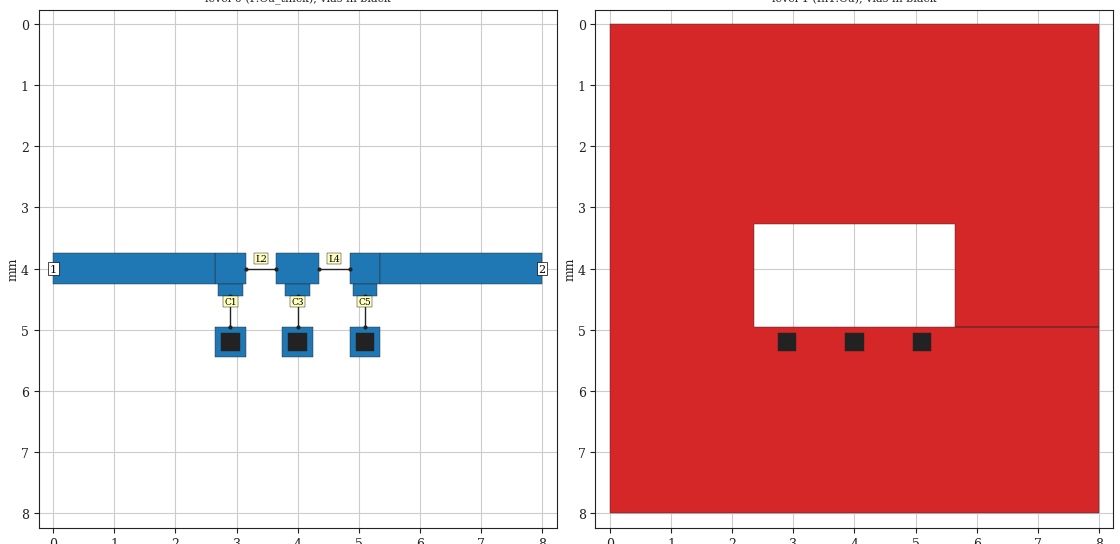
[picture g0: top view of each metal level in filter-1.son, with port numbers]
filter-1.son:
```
FTYP SONPROJ 19 ! Sonnet Project File
VER 18.54
HEADER
LIC antikernel2.1.51813
DAT 09/23/2022 21:42:49
BUILT_BY_CREATED xgeom 18.54 09/23/2022 20:17:08
BUILT_BY_SAVED sonnet 18.54
MDATE 09/23/2022 21:42:49
HDATE 09/23/2022 21:42:49
END HEADER
DIM
ANG DEG
CAP FF
CON /OH
FREQ GHZ
IND PH
LNG MM
RES OH
END DIM
CONTROL
VARSWP
OPTIONS  -dj
SPEED 0
CACHE_ABS 2
Q_ACC N
END CONTROL
GEO
DRP1 LEFT LINK
POLY 362 1
0
DRP1 RIGHT LINK
POLY 366 1
0
TMET "Free Space" 0 FREESPACE 376.7303136 0 0 0
BMET "Free Space" 0 FREESPACE 376.7303136 0 0 0
MET "Copper_1oz+plated_thick_up" 1 TMM 58000000 0.5 0.0432 2
MET "Copper_1oz+plated_thin" 4 NOR 58000000 0.5 0.0432 
MET "Copper_0.5oz_thin" 2 NOR 58000000 0.5 0.0175 
MET "Copper_1oz+plated_thick_down" 3 TMM 58000000 0.5 0.0432 2 CDVY TDWN
BOX 4 8 8 640 640 20 0
      10 1 1 0 0 0 0 "Air"
      0.2021 3.61 1 0.0092 0 0 0 "Isola_FR408HR"
      1.1938 3.61 1 0.0092 0 0 0 "Isola_FR408HR"
      0.2021 3.61 1 0.0092 0 0 0 "Isola_FR408HR"
      10 1 1 0 0 0 0 "Air"
TECHLAY METAL F.Cu_thick <UNSPECIFIED> -1 0 CAD F.Cu drawing 
0 0 0 N 23 1 1 100 100 0 0 0 Y
END
END
TECHLAY METAL F.Cu_thin <UNSPECIFIED> -2 0 CAD F.Cu_thin drawing 
0 0 1 N 25 1 1 100 100 0 0 0 Y
END
END
TECHLAY VIA Via1 <UNSPECIFIED> -7 0 CAD Via1 drawing 
VIA POLYGON
0 0 -1 N 347 1 1 100 100 0 0 0 Y
TOLEVEL 3 RING NOCOVERS
END
END
TECHLAY METAL In1.Cu <UNSPECIFIED> -3 0 CAD In1.Cu drawing 
1 0 2 N 29 1 1 100 100 0 0 0 Y
END
END
TECHLAY METAL In2.Cu <UNSPECIFIED> -4 0 CAD In2.Cu drawing 
2 0 2 N 31 1 1 100 100 0 0 0 Y
END
END
TECHLAY METAL B.Cu_thick <UNSPECIFIED> -5 0 CAD B.Cu drawing 
3 0 3 N 33 1 1 100 100 0 0 0 Y
END
END
TECHLAY METAL B.Cu_thin <UNSPECIFIED> -6 0 CAD B.Cu_thin drawing 
3 0 1 N 35 1 1 100 100 0 0 0 Y
END
END
LORGN 0 8 U 
POR1 BOX
POLY 362 1
2
1 50 0 0 0 0 4 
POR1 BOX
POLY 366 1
2
2 50 0 0 0 8 4 
SMD 0 "L2"
ID 60
GNDREF AUTO
SBOX 3.275 3.525 3.9625 4.0375
PBSHW N
LPOS 3.4 3.9625
TYPE IDEAL IND 510
SMDP 0 3.15 4 L 3 1 
EXSMDP
GNDREF AUTO
TERMW FEED
END EXSMDP
SMDP 0 3.65 4 R 4 2 
EXSMDP
GNDREF AUTO
TERMW FEED
END EXSMDP
END
SMD 0 "L4"
ID 101
GNDREF AUTO
SBOX 4.475 4.725 3.9625 4.0375
PBSHW N
LPOS 4.6 3.9625
TYPE IDEAL IND 1100
SMDP 0 4.35 4 L 5 1 
EXSMDP
GNDREF AUTO
TERMW FEED
END EXSMDP
SMDP 0 4.85 4 R 6 2 
EXSMDP
GNDREF AUTO
TERMW FEED
END EXSMDP
END
SMD 0 "C1"
ID 132
GNDREF AUTO
SBOX 2.775 3.025 4.575 4.825
PBSHW N
LPOS 2.9 4.575
TYPE IDEAL CAP 100
SMDP 0 2.9 4.45 T 7 1 
EXSMDP
GNDREF AUTO
TERMW FEED
END EXSMDP
SMDP 0 2.9 4.95 B 8 2 
EXSMDP
GNDREF AUTO
TERMW FEED
END EXSMDP
END
SMD 0 "C3"
ID 137
GNDREF AUTO
SBOX 3.875 4.125 4.575 4.825
PBSHW N
LPOS 4 4.575
TYPE IDEAL CAP 330
SMDP 0 4 4.45 T 9 1 
EXSMDP
GNDREF AUTO
TERMW FEED
END EXSMDP
SMDP 0 4 4.95 B 10 2 
EXSMDP
GNDREF AUTO
TERMW FEED
END EXSMDP
END
SMD 0 "C5"
ID 142
GNDREF AUTO
SBOX 4.975 5.225 4.575 4.825
PBSHW N
LPOS 5.1 4.575
TYPE IDEAL CAP 910
SMDP 0 5.1 4.45 T 11 1 
EXSMDP
GNDREF AUTO
TERMW FEED
END EXSMDP
SMDP 0 5.1 4.95 B 12 2 
EXSMDP
GNDREF AUTO
TERMW FEED
END EXSMDP
END
NUM 15
0 5 0 N 46 1 1 100 100 0 0 0 Y
TLAYNAM F.Cu_thick INH
2.65 3.75
3.15 3.75
3.15 4.25
2.65 4.25
2.65 3.75
END
0 5 0 N 48 1 1 100 100 0 0 0 Y
TLAYNAM F.Cu_thick INH
3.65 3.75
4.35 3.75
4.35 4.25
3.65 4.25
3.65 3.75
END
0 5 0 N 95 1 1 100 100 0 0 0 Y
TLAYNAM F.Cu_thick INH
4.85 3.75
5.35 3.75
5.35 4.25
4.85 4.25
4.85 3.75
END
0 5 0 N 123 1 1 100 100 0 0 0 Y
TLAYNAM F.Cu_thick INH
2.7 4.25
3.1 4.25
3.1 4.45
2.7 4.45
2.7 4.25
END
0 5 0 N 124 1 1 100 100 0 0 0 Y
TLAYNAM F.Cu_thick INH
3.8 4.25
4.2 4.25
4.2 4.45
3.8 4.45
3.8 4.25
END
0 5 0 N 125 1 1 100 100 0 0 0 Y
TLAYNAM F.Cu_thick INH
4.9 4.25
5.3 4.25
5.3 4.45
4.9 4.45
4.9 4.25
END
0 5 0 N 127 1 1 100 100 0 0 0 Y
TLAYNAM F.Cu_thick INH
2.65 4.95
3.15 4.95
3.15 5.45
2.65 5.45
2.65 4.95
END
0 5 0 N 129 1 1 100 100 0 0 0 Y
TLAYNAM F.Cu_thick INH
3.75 4.95
4.25 4.95
4.25 5.45
3.75 5.45
3.75 4.95
END
0 5 0 N 131 1 1 100 100 0 0 0 Y
TLAYNAM F.Cu_thick INH
4.85 4.95
5.35 4.95
5.35 5.45
4.85 5.45
4.85 4.95
END
0 5 0 N 362 1 1 100 100 0 0 0 Y
TLAYNAM F.Cu_thick INH
2.65 4.25
2.65 3.75
0 3.75
0 4.25
2.65 4.25
END
0 5 0 N 366 1 1 100 100 0 0 0 Y
TLAYNAM F.Cu_thick INH
5.35 3.75
5.35 4.25
8 4.25
8 3.75
5.35 3.75
END
VIA POLYGON
0 5 -1 N 147 1 1 100 100 0 0 0 Y
TOLEVEL 3 RING NOCOVERS
TLAYNAM Via1 INH
2.75 5.05
3.05 5.05
3.05 5.35
2.75 5.35
2.75 5.05
END
VIA POLYGON
0 5 -1 N 148 1 1 100 100 0 0 0 Y
TOLEVEL 3 RING NOCOVERS
TLAYNAM Via1 INH
3.85 5.05
4.15 5.05
4.15 5.35
3.85 5.35
3.85 5.05
END
VIA POLYGON
0 5 -1 N 149 1 1 100 100 0 0 0 Y
TOLEVEL 3 RING NOCOVERS
TLAYNAM Via1 INH
4.95 5.05
5.25 5.05
5.25 5.35
4.95 5.35
4.95 5.05
END
1 12 2 N 371 1 1 100 100 0 0 0 Y
TLAYNAM In1.Cu INH
8 0
0 0
0 8
8 8
8 4.95
5.65 4.95
2.35 4.95
2.35 3.275
5.65 3.275
5.65 4.95
8 4.95
8 0
END
END GEO
OPT
MAX 100
END OPT
VARSWP
ENABLED Y
FREQ Y AY ABS_ENTRY 0.01 14.0 -1 300 
END
END VARSWP
```
